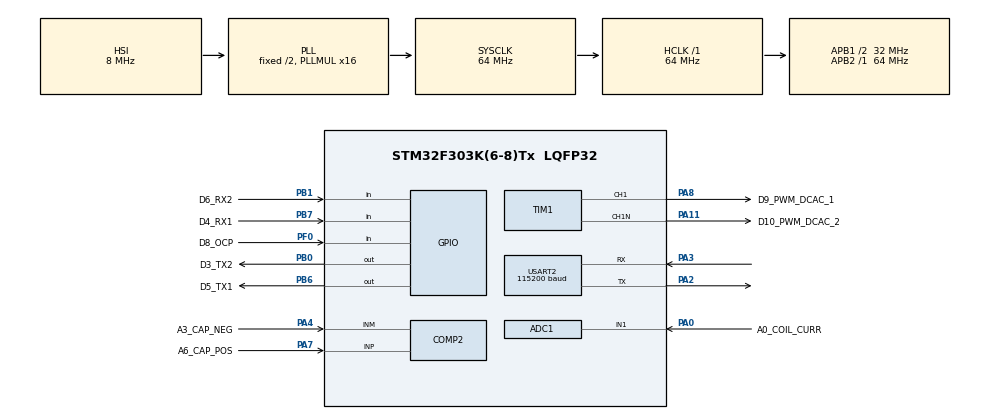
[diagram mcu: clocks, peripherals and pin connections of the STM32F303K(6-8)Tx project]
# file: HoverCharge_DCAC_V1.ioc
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ADC1.Channel-1\#ChannelRegularConversion=ADC_CHANNEL_1
ADC1.NbrOfConversionFlag=1
ADC1.Offset-1\#ChannelRegularConversion=0
ADC1.OffsetNumber-1\#ChannelRegularConversion=ADC_OFFSET_NONE
ADC1.Rank-1\#ChannelRegularConversion=1
ADC1.SamplingTime-1\#ChannelRegularConversion=ADC_SAMPLETIME_1CYCLE_5
ADC1.SamplingTimeOPAMP-1\#ChannelRegularConversion=ADC_SAMPLETIME_4CYCLES_5
ADC1.SubFamily=STM32F303x8
ADC1.master=1
Mcu.Family=STM32F3
Mcu.Name=STM32F303K(6-8)Tx
Mcu.Package=LQFP32
NVIC.PriorityGroup=NVIC_PRIORITYGROUP_4
PA0.GPIO_Label=A0_COIL_CURR
PA0.Mode=IN1-Single-Ended
PA0.Signal=ADC1_IN1
PA11.GPIO_Label=D10_PWM_DCAC_2
PA11.Mode=PWM Generation1 CH1 CH1N
PA11.Signal=TIM1_CH1N
PA2.Mode=Asynchronous
PA2.Signal=USART2_TX
PA3.Mode=Asynchronous
PA3.Signal=USART2_RX
PA4.GPIO_Label=A3_CAP_NEG
PA4.Mode=INM
PA4.Signal=COMP2_INM
PA7.GPIO_Label=A6_CAP_POS
PA7.Mode=INP
PA7.Signal=COMP2_INP
PA8.GPIO_Label=D9_PWM_DCAC_1
PA8.Signal=S_TIM1_CH1
PB0.GPIO_Label=D3_TX2
PB0.Signal=GPIO_Output
PB1.GPIO_Label=D6_RX2
PB1.Signal=GPIO_Input
PB6.GPIO_Label=D5_TX1
PB6.Signal=GPIO_Output
PB7.GPIO_Label=D4_RX1
PB7.Signal=GPIO_Input
PF0\ /\ OSC_IN.GPIO_Label=D8_OCP
PF0\ /\ OSC_IN.Signal=GPIO_Input
ProjectManager.HeapSize=0x200
ProjectManager.StackSize=0x400
ProjectManager.TargetToolchain=STM32CubeIDE
RCC.AHBFreq_Value=64000000
RCC.APB1CLKDivider=RCC_HCLK_DIV2
RCC.APB1Freq_Value=32000000
RCC.APB1TimFreq_Value=64000000
RCC.APB2Freq_Value=64000000
RCC.APB2TimFreq_Value=64000000
RCC.CortexFreq_Value=64000000
RCC.HCLKFreq_Value=64000000
RCC.HSE_VALUE=8000000
RCC.HSI_VALUE=8000000
RCC.PLLMUL=RCC_PLL_MUL16
RCC.SYSCLKFreq_VALUE=64000000
RCC.SYSCLKSourceVirtual=RCC_SYSCLKSOURCE_PLLCLK
SH.S_TIM1_CH1.0=TIM1_CH1,PWM Generation1 CH1 CH1N
TIM1.Channel-PWM\ Generation1\ CH1\ CH1N=TIM_CHANNEL_1
TIM1.CounterMode=TIM_COUNTERMODE_CENTERALIGNED1
TIM1.DeadTime=100
TIM1.OCNPolarity_1=TIM_OCNPOLARITY_HIGH
TIM1.OCPolarity_1=TIM_OCPOLARITY_HIGH
TIM1.RepetitionCounter=1
TIM1.TIM_MasterOutputTrigger=TIM_TRGO_UPDATE
USART2.BaudRate=115200
USART2.VirtualMode-Asynchronous=VM_ASYNC
VP_TIM1_VS_ClockSourceINT.Mode=Internal
board=custom

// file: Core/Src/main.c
/* USER CODE BEGIN Header */
/**
  ******************************************************************************
  * @file           : main.c
  * @brief          : Main program body
  ******************************************************************************
  * @attention
  *
  * Copyright (c) 2024 STMicroelectronics.
  * All rights reserved.
  *
  * This software is licensed under terms that can be found in the LICENSE file
  * in the root directory of this software component.
  * If no LICENSE file comes with this software, it is provided AS-IS.
  *
  ******************************************************************************
  */
/* USER CODE END Header */
#include "main.h"

/* USER CODE BEGIN Includes */
#include "stdlib.h"
#include "stdio.h"
#include "string.h"
/* USER CODE END Includes */

ADC_HandleTypeDef hadc1;

COMP_HandleTypeDef hcomp2;

TIM_HandleTypeDef htim1;

UART_HandleTypeDef huart2;

/* USER CODE BEGIN PV */
	//UART
	uint8_t TxStartMessage[] = "\r\n***** Group 1 - HoverCharge - 5XWF0 *****\r\n";

	//ADC
	uint32_t ADC1_Buff[1];

	uint32_t adc_val_1;
	float I_COIL_CURR=0.0f;

	//PWM
	uint32_t PWM_Freq = 100000;
	float PWM_DutyC = 50;
	int32_t PWM_Period;
	int32_t PWM_PulseWidth;
/* USER CODE END PV */

void SystemClock_Config(void);
static void MX_GPIO_Init(void);
static void MX_ADC1_Init(void);
static void MX_COMP2_Init(void);
static void MX_TIM1_Init(void);
static void MX_USART2_UART_Init(void);

/* USER CODE BEGIN 0 */
#ifdef __GNUC__
	#define PUTCHAR_PROTOTYPE int __io_putchar(int ch)
#else
	#define PUTCHAR_PROTOTYPE int fputc(int ch, FILE *f)
#endif

PUTCHAR_PROTOTYPE
{
	HAL_UART_Transmit(&huart2, (uint8_t *)&ch, 1, 0xFFF);

	return ch;
}
/* USER CODE END 0 */

int main(void)
{

  /* MCU Configuration--------------------------------------------------------*/

  /* Reset of all peripherals, Initializes the Flash interface and the Systick. */
  HAL_Init();

  /* Configure the system clock */
  SystemClock_Config();

  /* Initialize all configured peripherals */
  MX_GPIO_Init();
  MX_ADC1_Init();
  MX_COMP2_Init();
  MX_TIM1_Init();
  MX_USART2_UART_Init();

  /* Infinite loop */
  /* USER CODE BEGIN WHILE */
  while (1)
  {
	  PWM_Period = 64000000/(2*PWM_Freq)-1;
	       PWM_PulseWidth = (int)((PWM_Period*PWM_DutyC)/100);

	       __HAL_TIM_SET_AUTORELOAD(&htim1, PWM_Period);					//Timer 1 config

	        __HAL_TIM_SET_COMPARE(&htim1, TIM_CHANNEL_1, PWM_PulseWidth);	//Tim1 Channel 1 config
	        HAL_TIM_PWM_Start(&htim1, TIM_CHANNEL_1);
	        HAL_TIMEx_PWMN_Start(&htim1, TIM_CHANNEL_1);

	       HAL_ADCEx_Calibration_Start(&hadc1, ADC_SINGLE_ENDED);				//ADC1 config
	       HAL_ADC_Start_DMA(&hadc1, (uint32_t*)ADC1_Buff, 1);
    /* USER CODE END WHILE */

  }
}

void SystemClock_Config(void)
{
  RCC_OscInitTypeDef RCC_OscInitStruct = {0};
  RCC_ClkInitTypeDef RCC_ClkInitStruct = {0};
  RCC_PeriphCLKInitTypeDef PeriphClkInit = {0};

  /** Initializes the RCC Oscillators according to the specified parameters
  * in the RCC_OscInitTypeDef structure.
  */
  RCC_OscInitStruct.OscillatorType = RCC_OSCILLATORTYPE_HSI;
  RCC_OscInitStruct.HSIState = RCC_HSI_ON;
  RCC_OscInitStruct.HSICalibrationValue = RCC_HSICALIBRATION_DEFAULT;
  RCC_OscInitStruct.PLL.PLLState = RCC_PLL_ON;
  RCC_OscInitStruct.PLL.PLLSource = RCC_PLLSOURCE_HSI;
  RCC_OscInitStruct.PLL.PLLMUL = RCC_PLL_MUL16;
  if (HAL_RCC_OscConfig(&RCC_OscInitStruct) != HAL_OK)
  {
    Error_Handler();
  }

  /** Initializes the CPU, AHB and APB buses clocks
  */
  RCC_ClkInitStruct.ClockType = RCC_CLOCKTYPE_HCLK|RCC_CLOCKTYPE_SYSCLK
                              |RCC_CLOCKTYPE_PCLK1|RCC_CLOCKTYPE_PCLK2;
  RCC_ClkInitStruct.SYSCLKSource = RCC_SYSCLKSOURCE_PLLCLK;
  RCC_ClkInitStruct.AHBCLKDivider = RCC_SYSCLK_DIV1;
  RCC_ClkInitStruct.APB1CLKDivider = RCC_HCLK_DIV2;
  RCC_ClkInitStruct.APB2CLKDivider = RCC_HCLK_DIV1;

  if (HAL_RCC_ClockConfig(&RCC_ClkInitStruct, FLASH_LATENCY_2) != HAL_OK)
  {
    Error_Handler();
  }
  PeriphClkInit.PeriphClockSelection = RCC_PERIPHCLK_TIM1|RCC_PERIPHCLK_ADC12;
  PeriphClkInit.Adc12ClockSelection = RCC_ADC12PLLCLK_DIV1;
  PeriphClkInit.Tim1ClockSelection = RCC_TIM1CLK_HCLK;
  if (HAL_RCCEx_PeriphCLKConfig(&PeriphClkInit) != HAL_OK)
  {
    Error_Handler();
  }
}

static void MX_ADC1_Init(void)
{

  ADC_MultiModeTypeDef multimode = {0};
  ADC_ChannelConfTypeDef sConfig = {0};

  /** Common config
  */
  hadc1.Instance = ADC1;
  hadc1.Init.ClockPrescaler = ADC_CLOCK_ASYNC_DIV1;
  hadc1.Init.Resolution = ADC_RESOLUTION_12B;
  hadc1.Init.ScanConvMode = ADC_SCAN_DISABLE;
  hadc1.Init.ContinuousConvMode = DISABLE;
  hadc1.Init.DiscontinuousConvMode = DISABLE;
  hadc1.Init.ExternalTrigConvEdge = ADC_EXTERNALTRIGCONVEDGE_NONE;
  hadc1.Init.ExternalTrigConv = ADC_SOFTWARE_START;
  hadc1.Init.DataAlign = ADC_DATAALIGN_RIGHT;
  hadc1.Init.NbrOfConversion = 1;
  hadc1.Init.DMAContinuousRequests = DISABLE;
  hadc1.Init.EOCSelection = ADC_EOC_SINGLE_CONV;
  hadc1.Init.LowPowerAutoWait = DISABLE;
  hadc1.Init.Overrun = ADC_OVR_DATA_OVERWRITTEN;
  if (HAL_ADC_Init(&hadc1) != HAL_OK)
  {
    Error_Handler();
  }

  /** Configure the ADC multi-mode
  */
  multimode.Mode = ADC_MODE_INDEPENDENT;
  if (HAL_ADCEx_MultiModeConfigChannel(&hadc1, &multimode) != HAL_OK)
  {
    Error_Handler();
  }

  /** Configure Regular Channel
  */
  sConfig.Channel = ADC_CHANNEL_1;
  sConfig.Rank = ADC_REGULAR_RANK_1;
  sConfig.SingleDiff = ADC_SINGLE_ENDED;
  sConfig.SamplingTime = ADC_SAMPLETIME_1CYCLE_5;
  sConfig.OffsetNumber = ADC_OFFSET_NONE;
  sConfig.Offset = 0;
  if (HAL_ADC_ConfigChannel(&hadc1, &sConfig) != HAL_OK)
  {
    Error_Handler();
  }

}

static void MX_COMP2_Init(void)
{

  hcomp2.Instance = COMP2;
  hcomp2.Init.InvertingInput = COMP_INVERTINGINPUT_DAC1_CH1;
  hcomp2.Init.NonInvertingInput = COMP_NONINVERTINGINPUT_IO1;
  hcomp2.Init.Output = COMP_OUTPUT_NONE;
  hcomp2.Init.OutputPol = COMP_OUTPUTPOL_NONINVERTED;
  hcomp2.Init.BlankingSrce = COMP_BLANKINGSRCE_NONE;
  hcomp2.Init.TriggerMode = COMP_TRIGGERMODE_NONE;
  if (HAL_COMP_Init(&hcomp2) != HAL_OK)
  {
    Error_Handler();
  }

}

static void MX_TIM1_Init(void)
{

  TIM_ClockConfigTypeDef sClockSourceConfig = {0};
  TIM_MasterConfigTypeDef sMasterConfig = {0};
  TIM_OC_InitTypeDef sConfigOC = {0};
  TIM_BreakDeadTimeConfigTypeDef sBreakDeadTimeConfig = {0};

  htim1.Instance = TIM1;
  htim1.Init.Prescaler = 0;
  htim1.Init.CounterMode = TIM_COUNTERMODE_CENTERALIGNED1;
  htim1.Init.Period = 65535;
  htim1.Init.ClockDivision = TIM_CLOCKDIVISION_DIV1;
  htim1.Init.RepetitionCounter = 1;
  htim1.Init.AutoReloadPreload = TIM_AUTORELOAD_PRELOAD_DISABLE;
  if (HAL_TIM_Base_Init(&htim1) != HAL_OK)
  {
    Error_Handler();
  }
  sClockSourceConfig.ClockSource = TIM_CLOCKSOURCE_INTERNAL;
  if (HAL_TIM_ConfigClockSource(&htim1, &sClockSourceConfig) != HAL_OK)
  {
    Error_Handler();
  }
  if (HAL_TIM_PWM_Init(&htim1) != HAL_OK)
  {
    Error_Handler();
  }
  sMasterConfig.MasterOutputTrigger = TIM_TRGO_UPDATE;
  sMasterConfig.MasterOutputTrigger2 = TIM_TRGO2_RESET;
  sMasterConfig.MasterSlaveMode = TIM_MASTERSLAVEMODE_DISABLE;
  if (HAL_TIMEx_MasterConfigSynchronization(&htim1, &sMasterConfig) != HAL_OK)
  {
    Error_Handler();
  }
  sConfigOC.OCMode = TIM_OCMODE_PWM1;
  sConfigOC.Pulse = 0;
  sConfigOC.OCPolarity = TIM_OCPOLARITY_HIGH;
  sConfigOC.OCNPolarity = TIM_OCNPOLARITY_HIGH;
  sConfigOC.OCFastMode = TIM_OCFAST_DISABLE;
  sConfigOC.OCIdleState = TIM_OCIDLESTATE_RESET;
  sConfigOC.OCNIdleState = TIM_OCNIDLESTATE_RESET;
  if (HAL_TIM_PWM_ConfigChannel(&htim1, &sConfigOC, TIM_CHANNEL_1) != HAL_OK)
  {
    Error_Handler();
  }
  sBreakDeadTimeConfig.OffStateRunMode = TIM_OSSR_DISABLE;
  sBreakDeadTimeConfig.OffStateIDLEMode = TIM_OSSI_DISABLE;
  sBreakDeadTimeConfig.LockLevel = TIM_LOCKLEVEL_OFF;
  sBreakDeadTimeConfig.DeadTime = 100;
  sBreakDeadTimeConfig.BreakState = TIM_BREAK_DISABLE;
  sBreakDeadTimeConfig.BreakPolarity = TIM_BREAKPOLARITY_HIGH;
  sBreakDeadTimeConfig.BreakFilter = 0;
  sBreakDeadTimeConfig.Break2State = TIM_BREAK2_DISABLE;
  sBreakDeadTimeConfig.Break2Polarity = TIM_BREAK2POLARITY_HIGH;
  sBreakDeadTimeConfig.Break2Filter = 0;
  sBreakDeadTimeConfig.AutomaticOutput = TIM_AUTOMATICOUTPUT_DISABLE;
  if (HAL_TIMEx_ConfigBreakDeadTime(&htim1, &sBreakDeadTimeConfig) != HAL_OK)
  {
    Error_Handler();
  }
  HAL_TIM_MspPostInit(&htim1);

}

static void MX_USART2_UART_Init(void)
{

  huart2.Instance = USART2;
  huart2.Init.BaudRate = 115200;
  huart2.Init.WordLength = UART_WORDLENGTH_8B;
  huart2.Init.StopBits = UART_STOPBITS_1;
  huart2.Init.Parity = UART_PARITY_NONE;
  huart2.Init.Mode = UART_MODE_TX_RX;
  huart2.Init.HwFlowCtl = UART_HWCONTROL_NONE;
  huart2.Init.OverSampling = UART_OVERSAMPLING_16;
  huart2.Init.OneBitSampling = UART_ONE_BIT_SAMPLE_DISABLE;
  huart2.AdvancedInit.AdvFeatureInit = UART_ADVFEATURE_NO_INIT;
  if (HAL_UART_Init(&huart2) != HAL_OK)
  {
    Error_Handler();
  }

}

static void MX_GPIO_Init(void)
{
  GPIO_InitTypeDef GPIO_InitStruct = {0};

  /* GPIO Ports Clock Enable */
  __HAL_RCC_GPIOF_CLK_ENABLE();
  __HAL_RCC_GPIOA_CLK_ENABLE();
  __HAL_RCC_GPIOB_CLK_ENABLE();

  /*Configure GPIO pin Output Level */
  HAL_GPIO_WritePin(GPIOB, D3_TX2_Pin|D5_TX1_Pin, GPIO_PIN_RESET);

  /*Configure GPIO pin : D8_OCP_Pin */
  GPIO_InitStruct.Pin = D8_OCP_Pin;
  GPIO_InitStruct.Mode = GPIO_MODE_INPUT;
  GPIO_InitStruct.Pull = GPIO_NOPULL;
  HAL_GPIO_Init(D8_OCP_GPIO_Port, &GPIO_InitStruct);

  /*Configure GPIO pins : D3_TX2_Pin D5_TX1_Pin */
  GPIO_InitStruct.Pin = D3_TX2_Pin|D5_TX1_Pin;
  GPIO_InitStruct.Mode = GPIO_MODE_OUTPUT_PP;
  GPIO_InitStruct.Pull = GPIO_NOPULL;
  GPIO_InitStruct.Speed = GPIO_SPEED_FREQ_LOW;
  HAL_GPIO_Init(GPIOB, &GPIO_InitStruct);

  /*Configure GPIO pins : D6_RX2_Pin D4_RX1_Pin */
  GPIO_InitStruct.Pin = D6_RX2_Pin|D4_RX1_Pin;
  GPIO_InitStruct.Mode = GPIO_MODE_INPUT;
  GPIO_InitStruct.Pull = GPIO_NOPULL;
  HAL_GPIO_Init(GPIOB, &GPIO_InitStruct);

}

/* USER CODE BEGIN 4 */
void HAL_ADC_ConvCpltCallback(ADC_HandleTypeDef* hadc)
{
	UNUSED(hadc);

		adc_val_1 = ADC1_Buff[0];
		I_COIL_CURR = (((float)adc_val_1)/4095.0f)*3.3f;

}
/* USER CODE END 4 */

void Error_Handler(void)
{
  __disable_irq();
  while (1)
  {
  }
}
